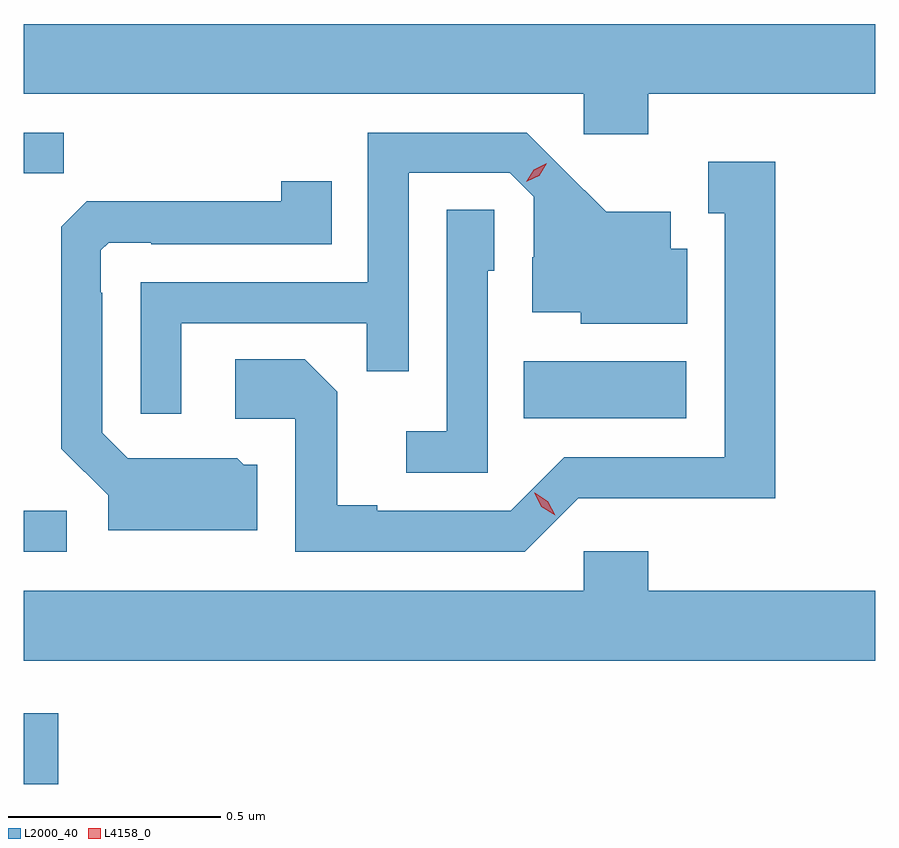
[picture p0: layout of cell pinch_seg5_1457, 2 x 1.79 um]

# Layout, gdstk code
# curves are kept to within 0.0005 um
import gdstk
lib = gdstk.Library(unit=1e-6, precision=1e-09)
def R(c, l, rs):  # rectangles x0, y0, x1, y1
    for r in rs: c.add(gdstk.rectangle(r[:2], r[2:], *l))
def P(c, l, *ps):  # polygons
    for p in ps: c.add(gdstk.Polygon(p, *l))
L2000_40 = (2000, 40)
L4158_0 = (4158, 0)

pinch_seg5_1457 = lib.new_cell('pinch_seg5_1457')
R(pinch_seg5_1457, L2000_40, [(167.051,907.086,167.131,907.252), (167.051,907.632,167.152,907.728), (168.226,907.946,168.607,908.08), (167.051,908.521,167.145,908.616)])
P(pinch_seg5_1457, L2000_40, [(168.518,908.708),(169.051,908.708),(169.051,908.872),(167.051,908.872),(167.051,908.708),(168.366,908.708),(168.366,908.613),(168.518,908.613)],
  [(167.421,908.169),(167.857,908.169),(167.857,908.056),(167.955,908.056),(167.955,908.523),(168.192,908.523),(168.249,908.466),(168.249,908.324),(168.245,908.324),(168.245,908.195),(168.36,908.195),(168.36,908.168),(168.61,908.168),(168.61,908.344),(168.571,908.344),(168.571,908.431),(168.419,908.431),(168.232,908.616),(167.859,908.616),(167.859,908.265),(167.325,908.265),(167.325,907.956),(167.421,907.956)],
  [(168.354,907.758),(168.576,907.758),(168.576,907.757),(168.817,907.757),(168.817,908.548),(168.659,908.548),(168.659,908.427),(168.698,908.427),(168.698,907.854),(168.321,907.854),(168.195,907.728),(167.881,907.728),(167.881,907.741),(167.787,907.741),(167.787,908.008),(167.711,908.084),(167.547,908.084),(167.547,907.944),(167.688,907.944),(167.688,907.632),(168.228,907.632)],
  [(167.599,907.836),(167.568,907.836),(167.552,907.852),(167.418,907.852),(167.418,907.851),(167.295,907.851),(167.235,907.911),(167.235,908.24),(167.232,908.24),(167.232,908.34),(167.25,908.358),(167.35,908.358),(167.35,908.355),(167.774,908.355),(167.774,908.503),(167.656,908.503),(167.656,908.456),(167.299,908.456),(167.299,908.455),(167.198,908.455),(167.139,908.396),(167.139,907.874),(167.249,907.764),(167.249,907.682),(167.599,907.682)],
  [(168.141,908.292),(168.156,908.292),(168.156,908.435),(168.045,908.435),(168.045,907.915),(167.949,907.915),(167.949,907.818),(168.141,907.818)],
  [(169.051,907.54),(168.518,907.54),(168.518,907.633),(168.366,907.633),(168.366,907.54),(167.051,907.54),(167.051,907.376),(169.051,907.376)])
P(pinch_seg5_1457, L4158_0, [(168.231,908.501),(168.231,908.501),(168.249,908.53),(168.28,908.545),(168.28,908.545),(168.28,908.545),(168.262,908.515),(168.231,908.501)],
  [(168.299,907.718),(168.267,907.737),(168.25,907.77),(168.25,907.77),(168.251,907.77),(168.282,907.751),(168.299,907.718),(168.299,907.718)])

lib.write_gds('pinch_seg5_1457.gds')
